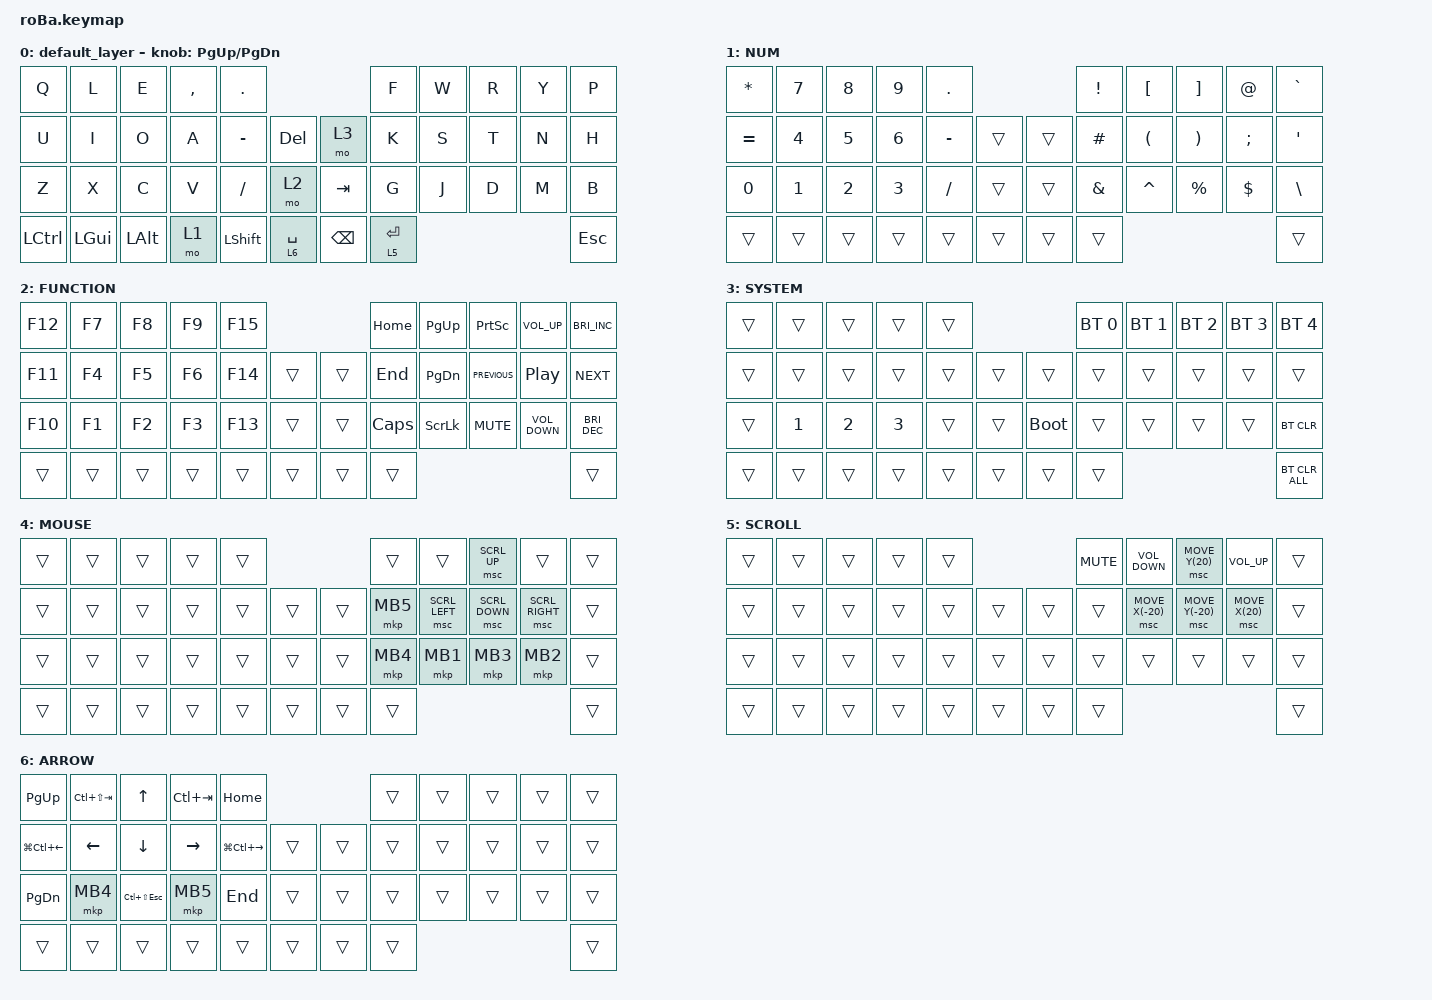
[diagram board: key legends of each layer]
#include <behaviors.dtsi>
#include <dt-bindings/zmk/bt.h>
#include <dt-bindings/zmk/keys.h>
#include <dt-bindings/zmk/pointing.h>

&mt {
    flavor = "balanced";
    quick-tap-ms = <0>;
};

&trackball {
    automouse-layer = <4>;
    scroll-layers = <5>;

    // arrows {
    //     layers = <3>;
    //     bindings =
    //         <&kp RIGHT_ARROW>,
    //         <&kp LEFT_ARROW>,
    //         <&kp UP_ARROW>,
    //         <&kp DOWN_ARROW>;
    //     tick = <10>;
    //     wait-ms = <5>;
    //     tap-ms = <5>;
    // };
};

/ {
    combos { compatible = "zmk,combos"; };

    macros {
        to_layer_0: to_layer_0 {
            compatible = "zmk,behavior-macro-one-param";
            #binding-cells = <1>;
            bindings = <&to 0 &macro_param_1to1 &kp MACRO_PLACEHOLDER>;
            label = "TO_LAYER_0";
        };
    };

    behaviors {
        lt_to_layer_0: lt_to_layer_0 {
            compatible = "zmk,behavior-hold-tap";
            label = "LAYER_TAP_TO_0";
            bindings = <&mo>, <&to_layer_0>;

            #binding-cells = <2>;
            tapping-term-ms = <200>;
        };
    };

    keymap {
        compatible = "zmk,keymap";

        default_layer {
            bindings = <
&kp Q             &kp L         &kp E         &kp COMMA  &kp PERIOD                                      &kp F        &kp W  &kp R  &kp Y  &kp P
&kp U             &kp I         &kp O         &kp A      &kp MINUS       &kp DELETE       &mo 3          &kp K        &kp S  &kp T  &kp N  &kp H
&kp Z             &kp X         &kp C         &kp V      &kp SLASH       &mo 2            &kp TAB        &kp G        &kp J  &kp D  &kp M  &kp B
&kp LEFT_CONTROL  &kp LEFT_GUI  &kp LEFT_ALT  &mo 1      &kp LEFT_SHIFT  &lt 6 SPACE      &kp BACKSPACE  &lt 5 ENTER                       &kp ESCAPE
            >;

            sensor-bindings = <&inc_dec_kp PG_UP PAGE_DOWN>;
        };

        NUM {
            bindings = <
&kp ASTERISK  &kp NUMBER_7  &kp NUMBER_8  &kp NUMBER_9  &kp DOT                        &kp EXCLAMATION  &kp LEFT_BRACKET      &kp RIGHT_BRACKET      &kp AT_SIGN    &kp GRAVE
&kp EQUAL     &kp NUMBER_4  &kp NUMBER_5  &kp NUMBER_6  &kp MINUS  &trans      &trans  &kp HASH         &kp LEFT_PARENTHESIS  &kp RIGHT_PARENTHESIS  &kp SEMICOLON  &kp SINGLE_QUOTE
&kp NUMBER_0  &kp NUMBER_1  &kp NUMBER_2  &kp NUMBER_3  &kp SLASH  &trans      &trans  &kp AMPERSAND    &kp CARET             &kp PERCENT            &kp DOLLAR     &kp BACKSLASH
&trans        &trans        &trans        &trans        &trans     &trans      &trans  &trans                                                                       &trans
            >;
        };

        FUNCTION {
            bindings = <
&kp F12  &kp F7  &kp F8  &kp F9  &kp F15                      &kp HOME      &kp PAGE_UP     &kp PRINTSCREEN  &kp C_VOLUME_UP    &kp C_BRIGHTNESS_INC
&kp F11  &kp F4  &kp F5  &kp F6  &kp F14  &trans      &trans  &kp END       &kp PAGE_DOWN   &kp C_PREVIOUS   &kp C_PLAY_PAUSE   &kp C_NEXT
&kp F10  &kp F1  &kp F2  &kp F3  &kp F13  &trans      &trans  &kp CAPSLOCK  &kp SCROLLLOCK  &kp C_MUTE       &kp C_VOLUME_DOWN  &kp C_BRIGHTNESS_DEC
&trans   &trans  &trans  &trans  &trans   &trans      &trans  &trans                                                            &trans
            >;
        };

        SYSTEM {
            bindings = <
&trans  &trans        &trans        &trans        &trans                           &bt BT_SEL 0  &bt BT_SEL 1  &bt BT_SEL 2  &bt BT_SEL 3  &bt BT_SEL 4
&trans  &trans        &trans        &trans        &trans  &trans      &trans       &trans        &trans        &trans        &trans        &trans
&trans  &kp NUMBER_1  &kp NUMBER_2  &kp NUMBER_3  &trans  &trans      &bootloader  &trans        &trans        &trans        &trans        &bt BT_CLR
&trans  &trans        &trans        &trans        &trans  &trans      &trans       &trans                                                  &bt BT_CLR_ALL
            >;
        };

        MOUSE {
            bindings = <
&trans  &trans  &trans  &trans  &trans                      &trans    &trans          &msc SCRL_UP    &trans           &trans
&trans  &trans  &trans  &trans  &trans  &trans      &trans  &mkp MB5  &msc SCRL_LEFT  &msc SCRL_DOWN  &msc SCRL_RIGHT  &trans
&trans  &trans  &trans  &trans  &trans  &trans      &trans  &mkp MB4  &mkp MB1        &mkp MB3        &mkp MB2         &trans
&trans  &trans  &trans  &trans  &trans  &trans      &trans  &trans                                                     &trans
            >;
        };

        SCROLL {
            bindings = <
&trans  &trans  &trans  &trans  &trans                      &kp K_MUTE  &kp K_VOLUME_DOWN  &msc MOVE_Y(20)   &kp K_VOLUME_UP  &trans
&trans  &trans  &trans  &trans  &trans  &trans      &trans  &trans      &msc MOVE_X(-20)   &msc MOVE_Y(-20)  &msc MOVE_X(20)  &trans
&trans  &trans  &trans  &trans  &trans  &trans      &trans  &trans      &trans             &trans            &trans           &trans
&trans  &trans  &trans  &trans  &trans  &trans      &trans  &trans                                                            &trans
            >;
        };

        ARROW {
            bindings = <
&kp PAGE_UP             &kp LC(LS(TAB))  &kp UP_ARROW        &kp LC(TAB)      &kp HOME                                     &trans  &trans  &trans  &trans  &trans
&kp LG(LC(LEFT_ARROW))  &kp LEFT_ARROW   &kp DOWN_ARROW      &kp RIGHT_ARROW  &kp LG(LC(RIGHT_ARROW))  &trans      &trans  &trans  &trans  &trans  &trans  &trans
&kp PAGE_DOWN           &mkp MB4         &kp LC(LS(ESCAPE))  &mkp MB5         &kp END                  &trans      &trans  &trans  &trans  &trans  &trans  &trans
&trans                  &trans           &trans              &trans           &trans                   &trans      &trans  &trans                          &trans
            >;
        };
    };
};
